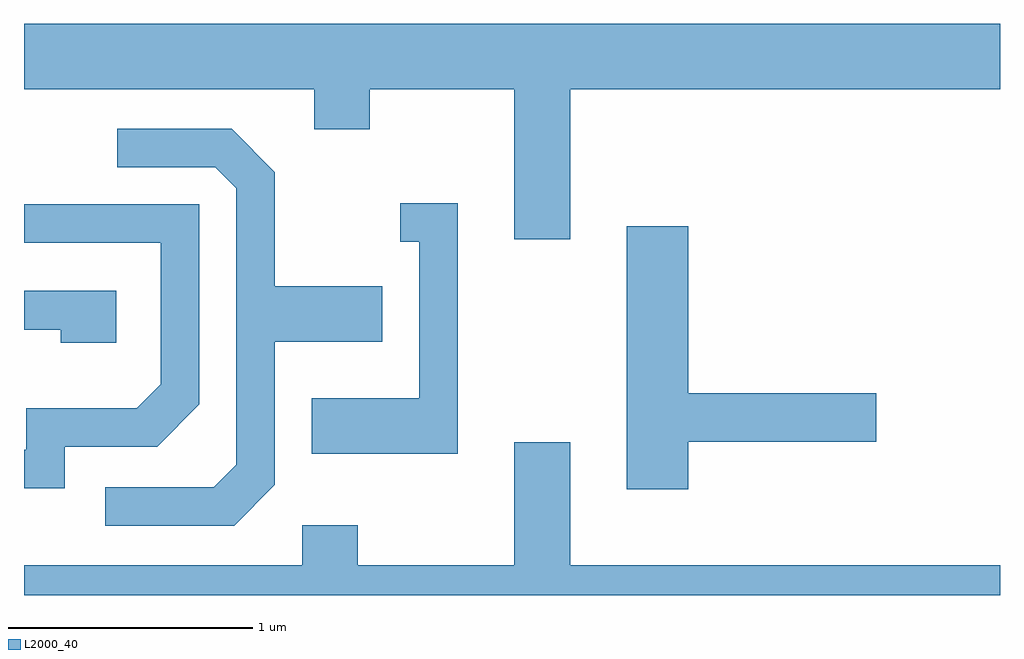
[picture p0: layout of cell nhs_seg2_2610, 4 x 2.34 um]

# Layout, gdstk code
import gdstk
lib = gdstk.Library(unit=1e-6, precision=1e-09)
def P(c, l, *ps):  # polygons
    for p in ps: c.add(gdstk.Polygon(p, *l))
L2000_40 = (2000, 40)

nhs_seg2_2610 = lib.new_cell('nhs_seg2_2610')
P(nhs_seg2_2610, L2000_40, [(263.849,1043.876),(265.611,1043.876),(265.611,1044.144),(261.611,1044.144),(261.611,1043.876),(262.801,1043.876),(262.801,1043.711),(263.029,1043.711),(263.029,1043.876),(263.621,1043.876),(263.621,1043.261),(263.849,1043.261)],
  [(262.639,1042.254),(262.639,1042.841),(263.079,1042.841),(263.079,1043.069),(262.639,1043.069),(262.639,1043.536),(262.462,1043.714),(261.993,1043.714),(261.993,1043.556),(262.394,1043.556),(262.481,1043.469),(262.481,1042.337),(262.389,1042.244),(261.943,1042.244),(261.943,1042.086),(262.472,1042.086)],
  [(263.389,1043.409),(263.153,1043.409),(263.153,1043.251),(263.231,1043.251),(263.231,1042.609),(262.791,1042.609),(262.791,1042.381),(263.389,1042.381)],
  [(261.779,1042.411),(262.157,1042.411),(262.329,1042.584),(262.329,1043.404),(261.611,1043.404),(261.611,1043.246),(262.171,1043.246),(262.171,1042.667),(262.074,1042.569),(261.621,1042.569),(261.621,1042.399),(261.611,1042.399),(261.611,1042.241),(261.779,1042.241)],
  [(264.334,1042.431),(265.104,1042.431),(265.104,1042.629),(264.334,1042.629),(264.334,1043.314),(264.081,1043.314),(264.081,1042.236),(264.334,1042.236)],
  [(261.989,1043.049),(261.611,1043.049),(261.611,1042.891),(261.761,1042.891),(261.761,1042.836),(261.989,1042.836)],
  [(265.611,1041.924),(263.849,1041.924),(263.849,1042.429),(263.621,1042.429),(263.621,1041.924),(262.979,1041.924),(262.979,1042.089),(262.751,1042.089),(262.751,1041.924),(261.611,1041.924),(261.611,1041.802),(265.611,1041.802)])

lib.write_gds('nhs_seg2_2610.gds')
